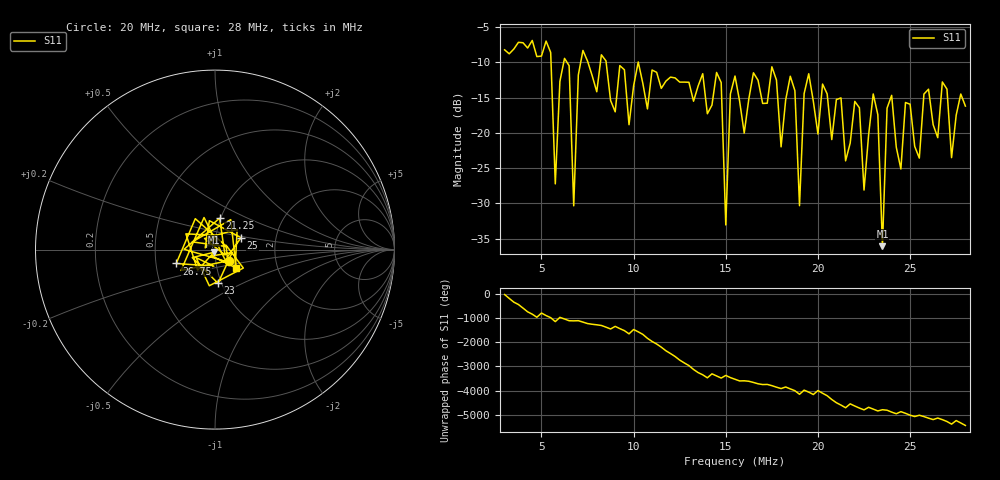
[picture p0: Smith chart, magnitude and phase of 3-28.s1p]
# HZ S RI R 50
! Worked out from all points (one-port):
!   101 points, 3 MHz to 28 MHz, reference 50 ohm
!   lowest |S11| = -36.1 dB at 23.5 MHz (marker M1), VSWR 1.03, Z = 49.4 - j1.46 ohm
!   |S11| at or under -10 dB: 6.386 MHz to 7.128 MHz (742.5 kHz wide, 11 % of centre); 8.509 MHz to 10.25 MHz (1.737 MHz wide, 18.5 % of centre); 10.25 MHz to end of sweep (the widest 3 of 5)
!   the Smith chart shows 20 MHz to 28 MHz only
!   S11 on the Smith chart (normalised r, x): 20 MHz: 1.16, -0.14; 21.25 MHz: 0.99, +0.36; 23 MHz: 0.96, -0.38; 25 MHz: 1.33, +0.18; 26.75 MHz: 0.64, -0.10; 28 MHz: 1.24, -0.26
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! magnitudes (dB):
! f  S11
! 3 MHz  -8.2
! 5.5 MHz  -8.6
! 5.75 MHz  -27.2
! 6.25 MHz  -9.4
! 6.5 MHz  -10.5
! 6.75 MHz  -30.3
! 7.25 MHz  -8.3
! 9.25 MHz  -10.5
! 12.5 MHz  -12.8
! 14.75 MHz  -12.9
! 15 MHz  -33.1
! 15.5 MHz  -11.9
! 18.75 MHz  -14.0
! 19 MHz  -30.3
! 19.5 MHz  -11.6
! 20 MHz  -20.2
! 21.25 MHz  -15.0
! 21.75 MHz  -21.4
! 22.25 MHz  -16.4
! 22.5 MHz  -28.1
! 23 MHz  -14.5
! 23.5 MHz  -36.1
! 23.75 MHz  -16.5
! 24.5 MHz  -25.1
! 25 MHz  -15.9
! 26.75 MHz  -12.8
! 27.25 MHz  -23.5
! 28 MHz  -16.2
